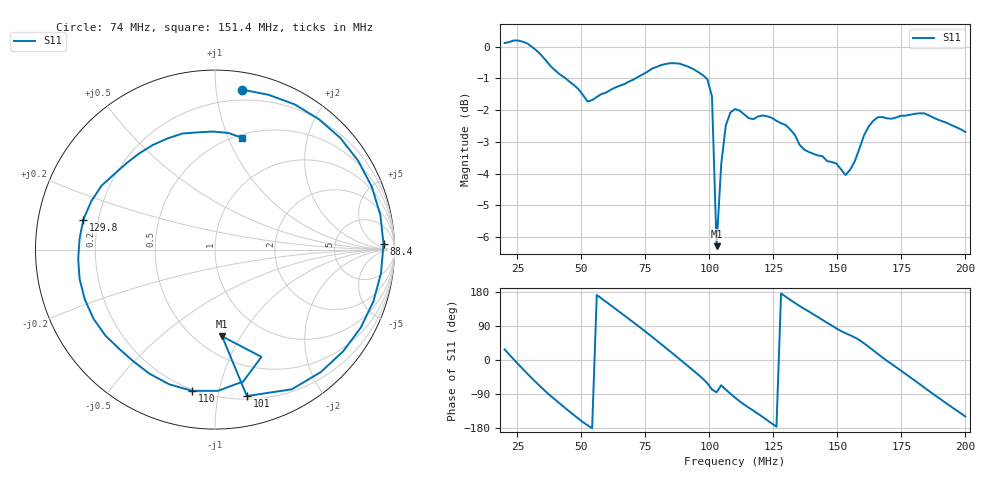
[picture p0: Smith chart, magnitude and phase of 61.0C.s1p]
# HZ S RI R 50
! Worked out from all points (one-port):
!   101 points, 20 MHz to 200 MHz, reference 50 ohm
!   lowest |S11| = -6.3 dB at 102.8 MHz (marker M1), VSWR 2.88, Z = 33.1 - j41.8 ohm
!   |S11| at or under -10 dB: nowhere
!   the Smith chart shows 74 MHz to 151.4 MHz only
!   S11 on the Smith chart (normalised r, x): 74 MHz: 0.12, +1.18; 88.4 MHz: 25, +13; 101 MHz: 0.23, -1.22; 110 MHz: 0.19, -0.83; 129.8 MHz: 0.14, +0.11; 151.4 MHz: 0.53, +1.12
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2e7  0.8954 0.4729
2.54e7  1.001 -0.2065
3.26e7  0.4758 -0.862
3.8e7  -0.0767 -0.9277
4.34e7  -0.5155 -0.7303
4.88e7  -0.7741 -0.3683
5.6e7  -0.8237 0.1236
6.5e7  -0.5148 0.6982
7.4e7  0.1519 0.8912
8.12e7  0.6986 0.6216
8.84e7  0.9389 0.0315
9.56e7  0.7139 -0.567
1.01e8  0.1776 -0.8159
1.028e8  0.0397 -0.4833
1.046e8  0.2588 -0.5977
1.1e8  -0.1283 -0.7868
1.208e8  -0.6771 -0.3849
1.298e8  -0.7337 0.1669
1.334e8  -0.6321 0.3563
1.442e8  -0.1819 0.6467
1.514e8  0.1493 0.6232
1.55e8  0.2663 0.5819
1.604e8  0.5215 0.5035
1.676e8  0.7692 0.0897
1.784e8  0.5488 -0.5555
1.838e8  0.2427 -0.7466
1.892e8  -0.1108 -0.7592
2e8  -0.6296 -0.3767
